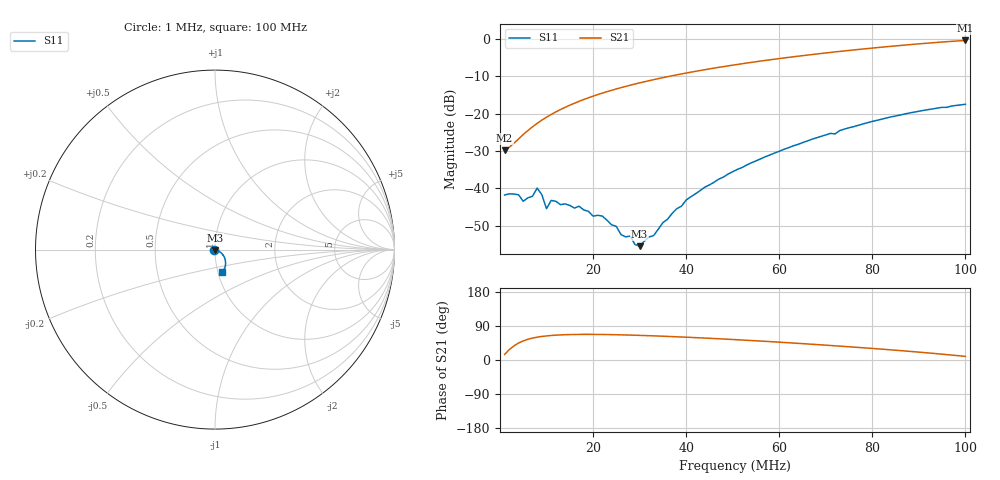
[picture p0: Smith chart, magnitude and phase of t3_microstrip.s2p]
# HZ S RI R 50
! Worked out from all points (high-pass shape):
!   100 points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, 1 MHz to 100 MHz, reference 50 ohm
!   highest |S21| = -0.40 dB at 100 MHz (marker M1); lowest = -29.8 dB at 1 MHz (marker M2)
!   |S21| within 3 dB of the highest: 72.51 MHz to end of sweep
!   lowest |S11| = -55.5 dB at 30 MHz (marker M3), VSWR 1.00, Z = 50 - j0.163 ohm
!   |S11| at or under -10 dB: start of sweep to end of sweep
!   S12 and S22 are empty: the file has one direction only
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1000001  -0.00813 0.000268  0.0314 0.00818  0 0  0 0
4000001  -0.00818 6.84e-05  0.0325 0.0324  0 0  0 0
5000001  -0.0067 0.000509  0.0335 0.0403  0 0  0 0
7000001  -0.00784 0.000494  0.0354 0.0565  0 0  0 0
8000001  -0.01 0.000539  0.0368 0.0644  0 0  0 0
9000001  -0.00782 0.00258  0.0382 0.0724  0 0  0 0
1e7  -0.00531 0.000321  0.04 0.0801  0 0  0 0
1.1e7  -0.00671 0.0015  0.0416 0.0882  0 0  0 0
1.8e7  -0.00512 -0.000451  0.0589 0.1431  0 0  0 0
2e7  -0.00417 -0.000788  0.0655 0.1583  0 0  0 0
2.2e7  -0.00416 -0.000872  0.0725 0.1737  0 0  0 0
2.5e7  -0.00278 -0.00136  0.0849 0.1967  0 0  0 0
2.6e7  -0.00201 -0.00132  0.0893 0.2042  0 0  0 0
2.8e7  -0.00145 -0.00178  0.0987 0.219  0 0  0 0
2.9e7  -0.000827 -0.00156  0.1039 0.2266  0 0  0 0
3e7  -0.000383 -0.00164  0.1093 0.2337  0 0  0 0
3.4e7  0.00174 -0.00222  0.1324 0.2625  0 0  0 0
4e7  0.00595 -0.00363  0.1739 0.303  0 0  0 0
5.1e7  0.0164 -0.00723  0.2713 0.3659  0 0  0 0
6.7e7  0.0391 -0.0229  0.4622 0.4104  0 0  0 0
8.4e7  0.0586 -0.0688  0.7116 0.3586  0 0  0 0
1e8  0.04 -0.1274  0.9415 0.1586  0 0  0 0
